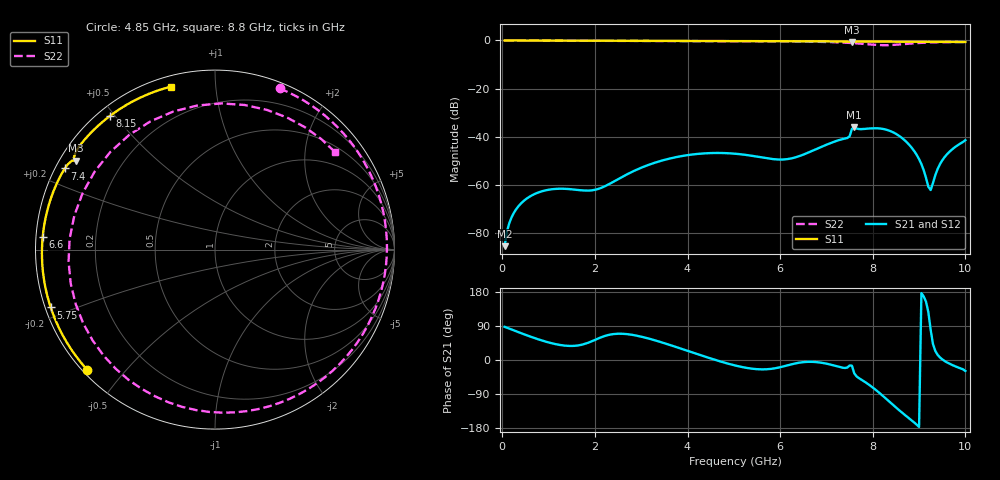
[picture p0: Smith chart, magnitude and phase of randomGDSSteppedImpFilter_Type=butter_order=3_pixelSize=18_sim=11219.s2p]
! freq	dB(S11)	phase(S11)	dB(S12)	phase(S12)
!  dB(S21)	phase(S21)	dB(S22)	phase(S22)
!S-par simulation data
#  GHz  S  DB  R 50
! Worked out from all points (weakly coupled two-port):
!   200 points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, 50 MHz to 10 GHz, reference 50 ohm
!   highest |S21| = -35.95 dB at 7.6 GHz (marker M1); lowest = -85.4 dB at 50 MHz (marker M2)
!   lowest |S11| = -0.7 dB at 7.55 GHz (marker M3), VSWR 24.20, Z = 2.24 + j14.6 ohm
!   |S11| at or under -10 dB: nowhere
!   |S22| runs from -2.0 to 0.0 dB; largest |S21 - S12| = 0
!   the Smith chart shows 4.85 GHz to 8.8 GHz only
!   S11 on the Smith chart (normalised r, x): 4.85 GHz: 0.01, -0.40; 5.75 GHz: 0.02, -0.17; 6.6 GHz: 0.02, +0.04; 7.4 GHz: 0.03, +0.25; 8.15 GHz: 0.03, +0.49; 8.8 GHz: 0.05, +0.76
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0.05  -0.00 -1.5  -85.36 87.6  -85.36 87.6  -0.00 -3.4
0.65  -0.03 -19.7  -64.17 59.8  -64.17 59.8  -0.06 -43.0
1.2  -0.05 -36.2  -61.54 40.7  -61.54 40.7  -0.10 -78.2
1.75  -0.07 -52.3  -62.25 41.4  -62.25 41.4  -0.13 -112.0
2.6  -0.10 -76.4  -56.50 69.2  -56.50 69.2  -0.18 -161.7
3.4  -0.13 -98.3  -50.10 48.1  -50.10 48.1  -0.22 152.4
4.15  -0.16 -118.3  -47.22 18.1  -47.22 18.1  -0.26 109.1
4.85  -0.20 -136.7  -46.77 -8.8  -46.77 -8.8  -0.29 68.2
5.05  -0.21 -141.9  -47.04 -15.1  -47.04 -15.1  -0.30 56.5
5.75  -0.26 -160.6  -49.00 -24.1  -49.00 -24.1  -0.34 15.5
6.6  -0.33 175.8  -46.59 -4.8  -46.59 -4.8  -0.48 -35.8
6.7  -0.34 172.9  -45.76 -4.9  -45.76 -4.9  -0.51 -42.3
7.4  -0.44 151.6  -40.69 -21.0  -40.69 -21.0  -0.91 -96.7
7.55  -0.72 147.4  -36.72 -15.0  -36.72 -15.0  -1.08 -112.1
7.6  -0.55 147.0  -35.95 -35.0  -35.95 -35.0  -1.14 -117.7
7.9  -0.45 136.5  -36.57 -63.6  -36.57 -63.6  -1.58 -158.6
8.15  -0.47 128.0  -36.52 -87.5  -36.52 -87.5  -1.92 156.9
8.35  -0.49 121.2  -37.39 -109.0  -37.39 -109.0  -1.94 116.7
8.8  -0.53 105.2  -43.59 -155.5  -43.59 -155.5  -1.29 39.1
9.25  -0.57 88.6  -62.07 79.6  -62.07 79.6  -0.83 -8.7
9.5  -0.59 79.0  -49.77 1.7  -49.77 1.7  -0.72 -27.0
10  -0.63 59.6  -41.37 -29.0  -41.37 -29.0  -0.66 -54.7
